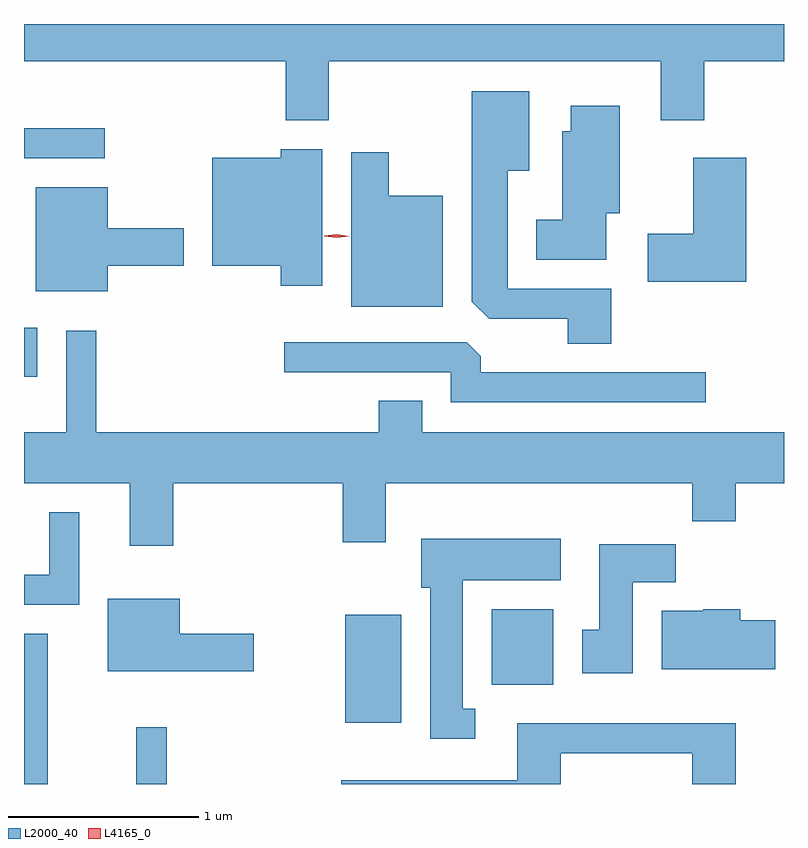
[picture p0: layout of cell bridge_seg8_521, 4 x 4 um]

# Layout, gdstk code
import gdstk
lib = gdstk.Library(unit=1e-6, precision=1e-09)
def R(c, l, rs):  # rectangles x0, y0, x1, y1
    for r in rs: c.add(gdstk.rectangle(r[:2], r[2:], *l))
def P(c, l, *ps):  # polygons
    for p in ps: c.add(gdstk.Polygon(p, *l))
L2000_40 = (2000, 40)
L4165_0 = (4165, 0)

bridge_seg8_521 = lib.new_cell('bridge_seg8_521')
R(bridge_seg8_521, L2000_40, [(286.094,1817.073,286.219,1817.864), (286.686,1817.073,286.844,1817.373), (287.786,1817.396,288.079,1817.964), (288.556,1817.596,288.879,1817.994), (286.094,1819.216,286.164,1819.474), (286.094,1820.366,286.518,1820.524)])
P(bridge_seg8_521, L2000_40, [(287.699,1820.876),(289.446,1820.876),(289.446,1820.566),(289.674,1820.566),(289.674,1820.876),(290.094,1820.876),(290.094,1821.073),(286.094,1821.073),(286.094,1820.876),(287.471,1820.876),(287.471,1820.566),(287.699,1820.566)],
  [(289.184,1819.679),(288.639,1819.679),(288.639,1820.301),(288.754,1820.301),(288.754,1820.719),(288.451,1820.719),(288.451,1819.612),(288.542,1819.521),(288.956,1819.521),(288.956,1819.391),(289.184,1819.391)],
  [(289.159,1820.076),(289.229,1820.076),(289.229,1820.644),(288.971,1820.644),(288.971,1820.509),(288.926,1820.509),(288.926,1820.044),(288.791,1820.044),(288.791,1819.831),(289.159,1819.831)],
  [(287.664,1820.414),(287.446,1820.414),(287.446,1820.369),(287.086,1820.369),(287.086,1819.801),(287.446,1819.801),(287.446,1819.696),(287.664,1819.696)],
  [(288.299,1820.169),(288.014,1820.169),(288.014,1820.399),(287.816,1820.399),(287.816,1819.586),(288.299,1819.586)],
  [(289.894,1820.369),(289.616,1820.369),(289.616,1819.969),(289.376,1819.969),(289.376,1819.716),(289.894,1819.716)],
  [(286.534,1819.801),(286.934,1819.801),(286.934,1819.999),(286.534,1819.999),(286.534,1820.214),(286.156,1820.214),(286.156,1819.666),(286.534,1819.666)],
  [(286.879,1818.656),(287.771,1818.656),(287.771,1818.346),(287.999,1818.346),(287.999,1818.656),(289.611,1818.656),(289.611,1818.456),(289.839,1818.456),(289.839,1818.656),(290.094,1818.656),(290.094,1818.924),(288.189,1818.924),(288.189,1819.089),(287.961,1819.089),(287.961,1818.924),(286.474,1818.924),(286.474,1819.458),(286.316,1819.458),(286.316,1818.924),(286.094,1818.924),(286.094,1818.656),(286.651,1818.656),(286.651,1818.326),(286.879,1818.326)],
  [(289.683,1819.239),(288.499,1819.239),(288.499,1819.324),(288.424,1819.399),(287.463,1819.399),(287.463,1819.241),(288.341,1819.241),(288.341,1819.081),(289.683,1819.081)],
  [(286.384,1818.503),(286.226,1818.503),(286.226,1818.174),(286.094,1818.174),(286.094,1818.016),(286.384,1818.016)],
  [(288.468,1817.469),(288.404,1817.469),(288.404,1818.146),(288.919,1818.146),(288.919,1818.364),(288.186,1818.364),(288.186,1818.106),(288.231,1818.106),(288.231,1817.311),(288.468,1817.311)],
  [(289.299,1818.136),(289.524,1818.136),(289.524,1818.334),(289.121,1818.334),(289.121,1817.884),(289.031,1817.884),(289.031,1817.656),(289.299,1817.656)],
  [(287.304,1817.864),(286.914,1817.864),(286.914,1818.049),(286.536,1818.049),(286.536,1817.666),(287.304,1817.666)],
  [(290.049,1817.934),(289.864,1817.934),(289.864,1817.994),(289.67,1817.994),(289.67,1817.984),(289.451,1817.984),(289.451,1817.676),(290.049,1817.676)],
  [(288.919,1817.236),(289.611,1817.236),(289.611,1817.073),(289.839,1817.073),(289.839,1817.394),(288.691,1817.394),(288.691,1817.094),(287.763,1817.094),(287.763,1817.073),(288.919,1817.073)])
P(bridge_seg8_521, L4165_0, [(287.74,1819.947),(287.674,1819.957),(287.673,1819.958),(287.674,1819.958),(287.74,1819.967),(287.806,1819.956),(287.806,1819.956),(287.806,1819.955)])

lib.write_gds('bridge_seg8_521.gds')
